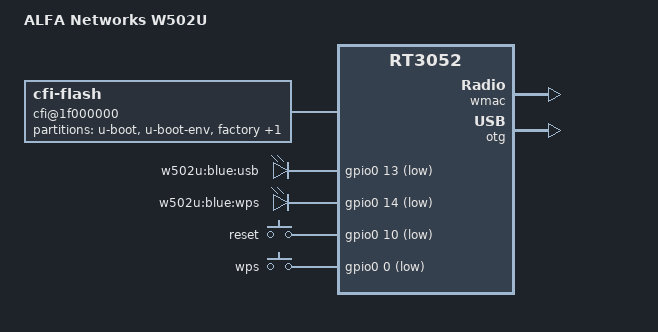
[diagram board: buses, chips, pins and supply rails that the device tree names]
/dts-v1/;

#include "rt3050.dtsi"

/ {
	compatible = "W502U", "ralink,rt3052-soc";
	model = "ALFA Networks W502U";

	chosen {
		bootargs = "console=ttyS0,115200";
	};

	cfi@1f000000 {
		compatible = "cfi-flash";
		reg = <0x1f000000 0x800000>;
		bank-width = <2>;
		device-width = <2>;
		#address-cells = <1>;
		#size-cells = <1>;

		partition@0 {
			label = "u-boot";
			reg = <0x0 0x30000>;
			read-only;
		};

		partition@30000 {
			label = "u-boot-env";
			reg = <0x30000 0x10000>;
			read-only;
		};

		factory: partition@40000 {
			label = "factory";
			reg = <0x40000 0x10000>;
			read-only;
		};

		partition@50000 {
			label = "firmware";
			reg = <0x50000 0x7b0000>;
		};
	};

	gpio-leds {
		compatible = "gpio-leds";

		usb {
			label = "w502u:blue:usb";
			gpios = <&gpio0 13 1>;
		};

		wps {
			label = "w502u:blue:wps";
			gpios = <&gpio0 14 1>;
		};
	};

	gpio-keys-polled {
		compatible = "gpio-keys-polled";
		#address-cells = <1>;
		#size-cells = <0>;
		poll-interval = <20>;

		reset {
			label = "reset";
			gpios = <&gpio0 10 1>;
			linux,code = <0x198>;
		};

		wps {
			label = "wps";
			gpios = <&gpio0 0 1>;
			linux,code = <0x211>;
		};
	};
};

&pinctrl {
	state_default: pinctrl0 {
		gpio {
			ralink,group = "spi", "i2c", "jtag", "rgmii", "mdio", "uartf";
			ralink,function = "gpio";
		};
	};
};

&ethernet {
	mtd-mac-address = <&factory 0x28>;
};

&esw {
	mediatek,portmap = <0x3e>;
};

&wmac {
	ralink,mtd-eeprom = <&factory 0>;
};

&otg {
	status = "okay";
};
